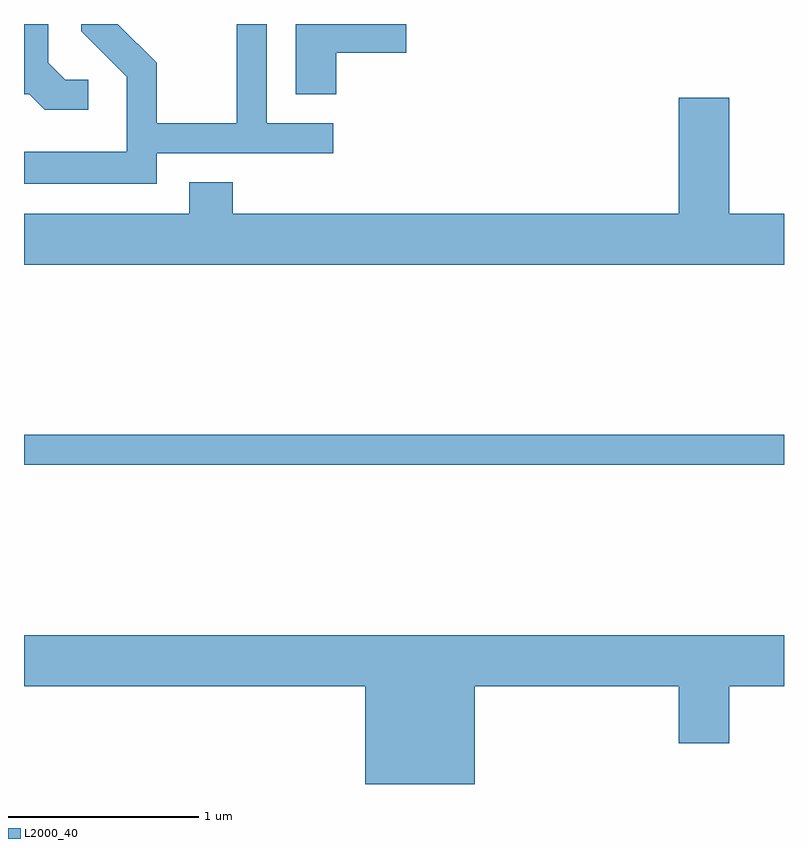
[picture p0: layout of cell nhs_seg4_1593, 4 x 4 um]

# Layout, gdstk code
import gdstk
lib = gdstk.Library(unit=1e-6, precision=1e-09)
def R(c, l, rs):  # rectangles x0, y0, x1, y1
    for r in rs: c.add(gdstk.rectangle(r[:2], r[2:], *l))
def P(c, l, *ps):  # polygons
    for p in ps: c.add(gdstk.Polygon(p, *l))
L2000_40 = (2000, 40)

nhs_seg4_1593 = lib.new_cell('nhs_seg4_1593')
R(nhs_seg4_1593, L2000_40, [(231.611,1313.661,235.611,1313.819)])
P(nhs_seg4_1593, L2000_40, [(232.309,1315.301),(233.238,1315.301),(233.238,1315.459),(232.889,1315.459),(232.889,1315.982),(232.731,1315.982),(232.731,1315.459),(232.309,1315.459),(232.309,1315.777),(232.104,1315.982),(231.911,1315.982),(231.911,1315.944),(232.151,1315.704),(232.151,1315.309),(231.611,1315.309),(231.611,1315.141),(232.309,1315.141)],
  [(233.254,1315.831),(233.624,1315.831),(233.624,1315.982),(233.041,1315.982),(233.041,1315.611),(233.254,1315.611)],
  [(231.948,1315.689),(231.827,1315.689),(231.739,1315.777),(231.739,1315.982),(231.611,1315.982),(231.611,1315.611),(231.639,1315.611),(231.719,1315.531),(231.948,1315.531)],
  [(235.611,1314.984),(235.324,1314.984),(235.324,1315.594),(235.056,1315.594),(235.056,1314.984),(232.709,1314.984),(232.709,1315.149),(232.481,1315.149),(232.481,1314.984),(231.611,1314.984),(231.611,1314.716),(235.611,1314.716)],
  [(233.984,1312.496),(235.056,1312.496),(235.056,1312.196),(235.324,1312.196),(235.324,1312.496),(235.611,1312.496),(235.611,1312.764),(231.611,1312.764),(231.611,1312.496),(233.406,1312.496),(233.406,1311.982),(233.984,1311.982)])

lib.write_gds('nhs_seg4_1593.gds')
